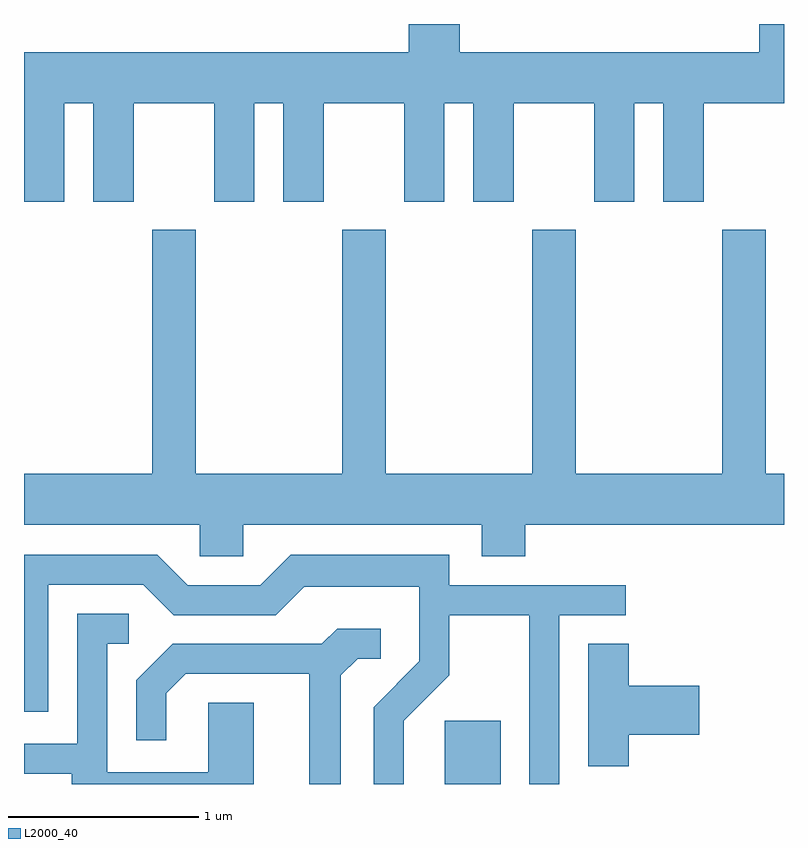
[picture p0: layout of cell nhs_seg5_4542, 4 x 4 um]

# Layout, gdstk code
import gdstk
lib = gdstk.Library(unit=1e-6, precision=1e-09)
def R(c, l, rs):  # rectangles x0, y0, x1, y1
    for r in rs: c.add(gdstk.rectangle(r[:2], r[2:], *l))
def P(c, l, *ps):  # polygons
    for p in ps: c.add(gdstk.Polygon(p, *l))
L2000_40 = (2000, 40)

nhs_seg5_4542 = lib.new_cell('nhs_seg5_4542')
R(nhs_seg5_4542, L2000_40, [(321.826,1482.072,322.119,1482.404)])
P(nhs_seg5_4542, L2000_40, [(319.824,1485.656),(319.976,1485.656),(319.976,1485.136),(320.189,1485.136),(320.189,1485.656),(320.611,1485.656),(320.611,1485.136),(320.824,1485.136),(320.824,1485.656),(320.976,1485.656),(320.976,1485.136),(321.189,1485.136),(321.189,1485.656),(321.611,1485.656),(321.611,1485.136),(321.824,1485.136),(321.824,1485.656),(321.976,1485.656),(321.976,1485.136),(322.189,1485.136),(322.189,1485.656),(322.611,1485.656),(322.611,1485.136),(322.824,1485.136),(322.824,1485.656),(322.976,1485.656),(322.976,1485.136),(323.189,1485.136),(323.189,1485.656),(323.611,1485.656),(323.611,1486.072),(323.481,1486.072),(323.481,1485.924),(321.904,1485.924),(321.904,1486.072),(321.636,1486.072),(321.636,1485.924),(319.611,1485.924),(319.611,1485.136),(319.824,1485.136)],
  [(320.764,1483.436),(322.021,1483.436),(322.021,1483.271),(322.249,1483.271),(322.249,1483.436),(323.611,1483.436),(323.611,1483.704),(323.514,1483.704),(323.514,1484.989),(323.286,1484.989),(323.286,1483.704),(322.514,1483.704),(322.514,1484.989),(322.286,1484.989),(322.286,1483.704),(321.514,1483.704),(321.514,1484.989),(321.286,1484.989),(321.286,1483.704),(320.514,1483.704),(320.514,1484.989),(320.286,1484.989),(320.286,1483.704),(319.611,1483.704),(319.611,1483.436),(320.536,1483.436),(320.536,1483.271),(320.764,1483.271)],
  [(321.609,1482.404),(321.849,1482.644),(321.849,1482.961),(322.271,1482.961),(322.271,1482.072),(322.429,1482.072),(322.429,1482.961),(322.778,1482.961),(322.778,1483.119),(321.849,1483.119),(321.849,1483.279),(321.014,1483.279),(320.854,1483.119),(320.472,1483.119),(320.312,1483.279),(319.611,1483.279),(319.611,1482.451),(319.739,1482.451),(319.739,1483.121),(320.239,1483.121),(320.399,1482.961),(320.937,1482.961),(321.087,1483.111),(321.691,1483.111),(321.691,1482.717),(321.451,1482.477),(321.451,1482.072),(321.609,1482.072)],
  [(320.819,1482.499),(320.581,1482.499),(320.581,1482.134),(320.049,1482.134),(320.049,1482.811),(320.163,1482.811),(320.163,1482.969),(319.891,1482.969),(319.891,1482.284),(319.611,1482.284),(319.611,1482.126),(319.861,1482.126),(319.861,1482.072),(320.819,1482.072)],
  [(321.279,1482.644),(321.367,1482.731),(321.488,1482.731),(321.488,1482.889),(321.259,1482.889),(321.179,1482.809),(320.394,1482.809),(320.201,1482.617),(320.201,1482.303),(320.359,1482.303),(320.359,1482.549),(320.462,1482.651),(321.111,1482.651),(321.111,1482.072),(321.279,1482.072)],
  [(322.794,1482.331),(323.164,1482.331),(323.164,1482.589),(322.794,1482.589),(322.794,1482.809),(322.581,1482.809),(322.581,1482.166),(322.794,1482.166)])

lib.write_gds('nhs_seg5_4542.gds')
